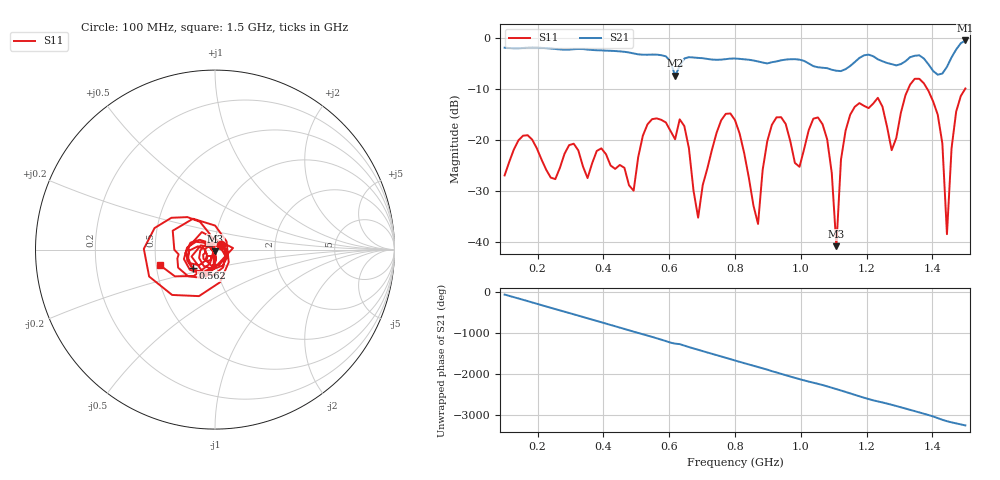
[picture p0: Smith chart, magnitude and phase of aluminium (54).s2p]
! NanoVNA-App
! Date: 2025-09-25 14:55:41
! Start: 100MHz Stop: 1,5GHz Points: 101
! S-Parameter data: F S11 S21 S12 S22
# Hz S RI R 50
!  Frequency  S11_Real  S11_Imag  S21_Real  S21_Imag  S12_Real  S12_Imag  S22_Real  S22_Imag
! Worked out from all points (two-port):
!   101 points, 100 MHz to 1.5 GHz, reference 50 ohm
!   highest |S21| = -0.50 dB at 1.5 GHz (marker M1); lowest = -7.4 dB at 618 MHz (marker M2)
!   |S21| within 3 dB of the highest: start of sweep to 582.5 MHz; 1.461 GHz to end of sweep (the widest 2 of 4)
!   lowest |S11| = -40.9 dB at 1.108 GHz (marker M3), VSWR 1.02, Z = 50.2 - j0.869 ohm
!   |S11| at or under -10 dB: start of sweep to 1.326 GHz; 1.384 GHz to 1.499 GHz (115.4 MHz wide, 8.01 % of centre)
!   S12 and S22 are empty: the file has one direction only
!   S11 on the Smith chart (normalised r, x): 100 MHz: 1.07, +0.06; 562 MHz: 0.76, -0.16; 1.5 GHz: 0.52, -0.10
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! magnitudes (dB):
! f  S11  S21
! 100 MHz  -27.0  -1.9
! 338 MHz  -25.2  -2.2
! 492 MHz  -30.0  -3.1
! 562 MHz  -15.8  -3.3
! 576 MHz  -16.1  -3.4
! 618 MHz  -19.9  -7.4
! 646 MHz  -17.3  -4.0
! 688 MHz  -35.3  -3.9
! 800 MHz  -16.1  -4.1
! 870 MHz  -36.5  -4.6
! 912 MHz  -17.1  -4.8
! 996 MHz  -25.3  -4.3
! 1.038 GHz  -15.9  -5.5
! 1.08 GHz  -19.9  -5.9
! 1.108 GHz  -40.9  -6.4
! 1.15 GHz  -15.1  -5.5
! 1.276 GHz  -22.0  -5.2
! 1.374 GHz  -8.9  -4.1
! 1.43 GHz  -20.7  -7.0
! 1.444 GHz  -38.5  -5.7
! 1.472 GHz  -14.5  -2.3
! 1.5 GHz  -9.9  -0.5
